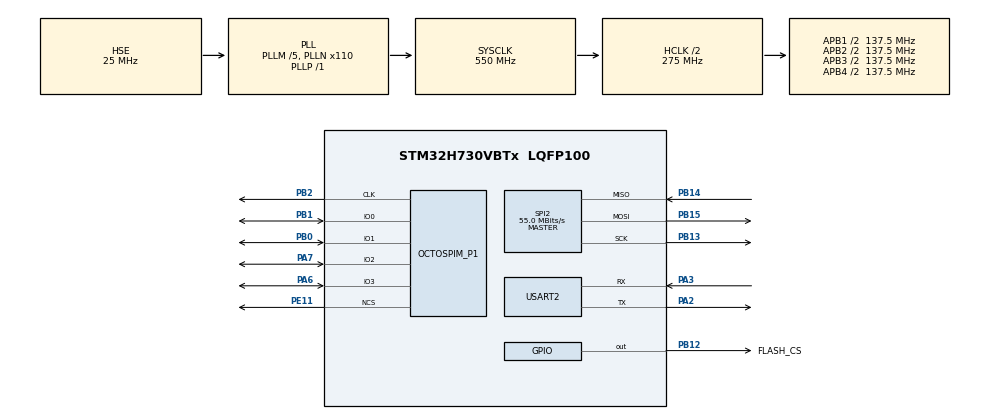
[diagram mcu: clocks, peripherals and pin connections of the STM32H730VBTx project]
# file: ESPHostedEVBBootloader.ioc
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CORTEX_M7.CPU_DCache=Enabled
CORTEX_M7.CPU_ICache=Enabled
Mcu.Family=STM32H7
Mcu.Name=STM32H730VBTx
Mcu.Package=LQFP100
NVIC.PriorityGroup=NVIC_PRIORITYGROUP_4
OCTOSPI1.ClockMode=HAL_OSPI_CLOCK_MODE_3
OCTOSPI1.ClockPrescaler=5
OCTOSPI1.DeviceSize=23
OCTOSPI1.DeviceType=SPI_DEVICE_FLASH
OCTOSPI1.FifoThreshold=8
OCTOSPI1.MemoryType=HAL_OSPI_MEMTYPE_MICRON
OCTOSPI1.SampleShifting=HAL_OSPI_SAMPLE_SHIFTING_HALFCYCLE
PA2.Mode=Asynchronous
PA2.Signal=USART2_TX
PA3.Mode=Asynchronous
PA3.Signal=USART2_RX
PA6.Mode=OCTOSPI1_IOL_Port1L
PA6.Signal=OCTOSPIM_P1_IO3
PA7.Mode=OCTOSPI1_IOL_Port1L
PA7.Signal=OCTOSPIM_P1_IO2
PB0.Mode=OCTOSPI1_IOL_Port1L
PB0.Signal=OCTOSPIM_P1_IO1
PB1.Mode=OCTOSPI1_IOL_Port1L
PB1.Signal=OCTOSPIM_P1_IO0
PB12.GPIO_Label=FLASH_CS
PB12.GPIO_Speed=GPIO_SPEED_FREQ_VERY_HIGH
PB12.Signal=GPIO_Output
PB13.GPIO_Speed=GPIO_SPEED_FREQ_VERY_HIGH
PB13.Mode=Full_Duplex_Master
PB13.Signal=SPI2_SCK
PB14.GPIO_Speed=GPIO_SPEED_FREQ_VERY_HIGH
PB14.Mode=Full_Duplex_Master
PB14.Signal=SPI2_MISO
PB15.GPIO_Speed=GPIO_SPEED_FREQ_VERY_HIGH
PB15.Mode=Full_Duplex_Master
PB15.Signal=SPI2_MOSI
PB2.Mode=O1_P1_CLK
PB2.Signal=OCTOSPIM_P1_CLK
PE11.Mode=OCTOSPI1_Port1_NCS
PE11.Signal=OCTOSPIM_P1_NCS
PH0-OSC_IN.Mode=HSE-External-Oscillator
PH0-OSC_IN.Signal=RCC_OSC_IN
PH1-OSC_OUT.Mode=HSE-External-Oscillator
PH1-OSC_OUT.Signal=RCC_OSC_OUT
ProjectManager.HeapSize=0x200
ProjectManager.StackSize=0x400
ProjectManager.TargetToolchain=STM32CubeIDE
RCC.ADCFreq_Value=50390625
RCC.APB1Freq_Value=137500000
RCC.APB2Freq_Value=137500000
RCC.APB3Freq_Value=137500000
RCC.APB4Freq_Value=137500000
RCC.CortexFreq_Value=550000000
RCC.D1PPRE=RCC_APB3_DIV2
RCC.D2PPRE1=RCC_APB1_DIV2
RCC.D2PPRE2=RCC_APB2_DIV2
RCC.D3PPRE=RCC_APB4_DIV2
RCC.DIVM1=5
RCC.DIVN1=110
RCC.DIVP1=1
RCC.DIVQ1=5
RCC.HCLKFreq_Value=275000000
RCC.HPRE=RCC_HCLK_DIV2
RCC.PLLSourceVirtual=RCC_PLLSOURCE_HSE
RCC.SYSCLKFreq_VALUE=550000000
RCC.SYSCLKSource=RCC_SYSCLKSOURCE_PLLCLK
RCC.SupplySource=PWR_EXTERNAL_SOURCE_SUPPLY
RCC.USBFreq_Value=110000000
SPI2.CalculateBaudRate=55.0 MBits/s
SPI2.DataSize=SPI_DATASIZE_8BIT
SPI2.Direction=SPI_DIRECTION_2LINES
SPI2.Mode=SPI_MODE_MASTER
SPI2.VirtualType=VM_MASTER
USART2.VirtualMode-Asynchronous=VM_ASYNC
VP_MEMORYMAP_VS_MEMORYMAP.Mode=CurAppReg
VP_OCTOSPI1_VS_quad.Mode=quad_mode
board=custom

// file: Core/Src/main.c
/* USER CODE BEGIN Header */
/**
  ******************************************************************************
  * @file           : main.c
  * @brief          : Main program body
  ******************************************************************************
  * @attention
  *
  * Copyright (c) 2025 STMicroelectronics.
  * All rights reserved.
  *
  * This software is licensed under terms that can be found in the LICENSE file
  * in the root directory of this software component.
  * If no LICENSE file comes with this software, it is provided AS-IS.
  *
  ******************************************************************************
  */
/* USER CODE END Header */
#include "main.h"
#include "memorymap.h"
#include "octospi.h"
#include "spi.h"
#include "usart.h"
#include "gpio.h"

/* USER CODE BEGIN Includes */
#include <stdio.h>
#include <string.h>
#include "elog.h"
#include "sfud.h"
/* USER CODE END Includes */

void SystemClock_Config(void);
/* USER CODE BEGIN PFP */
static const char *const TAG = "bootloader";
volatile uint32_t global_stack_top;
volatile uint32_t global_vector_addr;
volatile uint32_t global_entry_addr;

__STATIC_FORCEINLINE void JumpToApp(uint32_t stack_top, uint32_t vector_addr, uint32_t entry_addr) {
    // copy them to avoid use the var in stack after stack changing
    global_stack_top = stack_top;
    global_vector_addr = vector_addr;
    global_entry_addr = entry_addr;

    elog_i(TAG, "stack_top: 0x%08x", global_stack_top);
    elog_i(TAG, "vector_addr: 0x%08x", global_vector_addr);
    elog_i(TAG, "entry_addr: 0x%08x", global_entry_addr);

    HAL_MPU_Disable();
    SCB_DisableDCache();
    SCB_DisableICache();

    __disable_irq();

    SysTick->CTRL = 0;
    SysTick->LOAD = 0;
    SysTick->VAL = 0;
    for (uint8_t i = 0; i < 8; i++) {
        NVIC->ICER[i] = 0xFFFFFFFF;
        NVIC->ICPR[i] = 0xFFFFFFFF;
    }

    __enable_irq();

    __set_MSP(global_stack_top);
    __set_CONTROL(0);

    SCB->VTOR = global_vector_addr;

    ((void (*)(void)) (global_entry_addr))();

}

__STATIC_FORCEINLINE void EntryApp() {
    extern sfud_err qspi_entry_memory_mapped_mode(sfud_flash *flash);
    sfud_flash *flash = sfud_get_device(SFUD_MAIN_FLASH);
    qspi_entry_memory_mapped_mode(flash);

//    /* Set OTFDEC Mode */
//    if (HAL_OTFDEC_RegionSetMode(&hotfdec1, OTFDEC_REGION1, OTFDEC_REG_MODE_INSTRUCTION_OR_DATA_ACCESSES) != HAL_OK) {
//        Error_Handler();
//    }
//
//    /* Set OTFDEC Key */
//    if (HAL_OTFDEC_RegionSetKey(&hotfdec1, OTFDEC_REGION1, key) != HAL_OK) {
//        Error_Handler();
//    }
//
//    OTFDEC_RegionConfigTypeDef Config;
//    /* Configure and lock region,enable OTFDEC decryption */
//    Config.Nonce[0] = iv[0];
//    Config.Nonce[1] = iv[1];
//    Config.StartAddress = OCTOSPI1_BASE;
//    Config.EndAddress = OCTOSPI1_BASE + 1 * 1024 * 1024;
//    Config.Version = 0xABBA;
//    if (HAL_OTFDEC_RegionConfig(&hotfdec1, OTFDEC_REGION1, &Config, OTFDEC_REG_CONFIGR_LOCK_ENABLE) != HAL_OK) {
//        Error_Handler();
//    }

    uint32_t *stack_top = (uint32_t *) (OCTOSPI1_BASE);
    uint32_t *entry_addr = (uint32_t *) (OCTOSPI1_BASE + sizeof(uint32_t));
    uint32_t vector_addr = OCTOSPI1_BASE;
    JumpToApp(*stack_top, vector_addr, *entry_addr);
}
/* USER CODE END PFP */

int main(void)
{

  /* Enable the CPU Cache */

  /* Enable I-Cache---------------------------------------------------------*/
  SCB_EnableICache();

  /* Enable D-Cache---------------------------------------------------------*/
  SCB_EnableDCache();

  /* MCU Configuration--------------------------------------------------------*/

  /* Reset of all peripherals, Initializes the Flash interface and the Systick. */
  HAL_Init();

  /* Configure the system clock */
  SystemClock_Config();

  /* Initialize all configured peripherals */
  MX_GPIO_Init();
  MX_OCTOSPI1_Init();
  MX_USART2_UART_Init();
  MX_SPI2_Init();
  /* USER CODE BEGIN 2 */
    // note: qspi freq is set a little too low
    /* initialize EasyLogger */
    elog_init();
    /* set EasyLogger log format */
    elog_set_fmt(ELOG_LVL_ASSERT, ELOG_FMT_ALL);
    elog_set_fmt(ELOG_LVL_ERROR, ELOG_FMT_LVL | ELOG_FMT_TAG | ELOG_FMT_TIME);
    elog_set_fmt(ELOG_LVL_WARN, ELOG_FMT_LVL | ELOG_FMT_TAG | ELOG_FMT_TIME);
    elog_set_fmt(ELOG_LVL_INFO, ELOG_FMT_LVL | ELOG_FMT_TAG | ELOG_FMT_TIME);
    elog_set_fmt(ELOG_LVL_DEBUG, ELOG_FMT_LVL | ELOG_FMT_TAG | ELOG_FMT_TIME);
    /* start EasyLogger */
    elog_start();

    if (sfud_init() != SFUD_SUCCESS) {
        elog_e(TAG, "SFUD init failed!");
    }
    sfud_qspi_fast_read_enable(sfud_get_device(SFUD_MAIN_FLASH), 4);

//    char buf[100];
//    sfud_read(sfud_get_device(SFUD_MAIN_FLASH), 0, 100, buf);
//    elog_i(TAG, "Read 100 bytes from flash:");
//    elog_hexdump(TAG, 16, buf, 100);

    EntryApp();
  /* USER CODE END 2 */

  /* Infinite loop */
  /* USER CODE BEGIN WHILE */
    while (1) {
        elog_i(TAG, "Hello World!");
        HAL_Delay(1000);
    /* USER CODE END WHILE */

    }
}

void SystemClock_Config(void)
{
  RCC_OscInitTypeDef RCC_OscInitStruct = {0};
  RCC_ClkInitTypeDef RCC_ClkInitStruct = {0};

  /** Supply configuration update enable
  */
  HAL_PWREx_ConfigSupply(PWR_EXTERNAL_SOURCE_SUPPLY);

  /** Configure the main internal regulator output voltage
  */
  __HAL_PWR_VOLTAGESCALING_CONFIG(PWR_REGULATOR_VOLTAGE_SCALE0);

  while(!__HAL_PWR_GET_FLAG(PWR_FLAG_VOSRDY)) {}

  /** Initializes the RCC Oscillators according to the specified parameters
  * in the RCC_OscInitTypeDef structure.
  */
  RCC_OscInitStruct.OscillatorType = RCC_OSCILLATORTYPE_HSE;
  RCC_OscInitStruct.HSEState = RCC_HSE_ON;
  RCC_OscInitStruct.PLL.PLLState = RCC_PLL_ON;
  RCC_OscInitStruct.PLL.PLLSource = RCC_PLLSOURCE_HSE;
  RCC_OscInitStruct.PLL.PLLM = 5;
  RCC_OscInitStruct.PLL.PLLN = 110;
  RCC_OscInitStruct.PLL.PLLP = 1;
  RCC_OscInitStruct.PLL.PLLQ = 5;
  RCC_OscInitStruct.PLL.PLLR = 2;
  RCC_OscInitStruct.PLL.PLLRGE = RCC_PLL1VCIRANGE_2;
  RCC_OscInitStruct.PLL.PLLVCOSEL = RCC_PLL1VCOWIDE;
  RCC_OscInitStruct.PLL.PLLFRACN = 0;
  if (HAL_RCC_OscConfig(&RCC_OscInitStruct) != HAL_OK)
  {
    Error_Handler();
  }

  /** Initializes the CPU, AHB and APB buses clocks
  */
  RCC_ClkInitStruct.ClockType = RCC_CLOCKTYPE_HCLK|RCC_CLOCKTYPE_SYSCLK
                              |RCC_CLOCKTYPE_PCLK1|RCC_CLOCKTYPE_PCLK2
                              |RCC_CLOCKTYPE_D3PCLK1|RCC_CLOCKTYPE_D1PCLK1;
  RCC_ClkInitStruct.SYSCLKSource = RCC_SYSCLKSOURCE_PLLCLK;
  RCC_ClkInitStruct.SYSCLKDivider = RCC_SYSCLK_DIV1;
  RCC_ClkInitStruct.AHBCLKDivider = RCC_HCLK_DIV2;
  RCC_ClkInitStruct.APB3CLKDivider = RCC_APB3_DIV2;
  RCC_ClkInitStruct.APB1CLKDivider = RCC_APB1_DIV2;
  RCC_ClkInitStruct.APB2CLKDivider = RCC_APB2_DIV2;
  RCC_ClkInitStruct.APB4CLKDivider = RCC_APB4_DIV2;

  if (HAL_RCC_ClockConfig(&RCC_ClkInitStruct, FLASH_LATENCY_3) != HAL_OK)
  {
    Error_Handler();
  }
}

void Error_Handler(void)
{
    __disable_irq();
    while (1) {
    }
}
